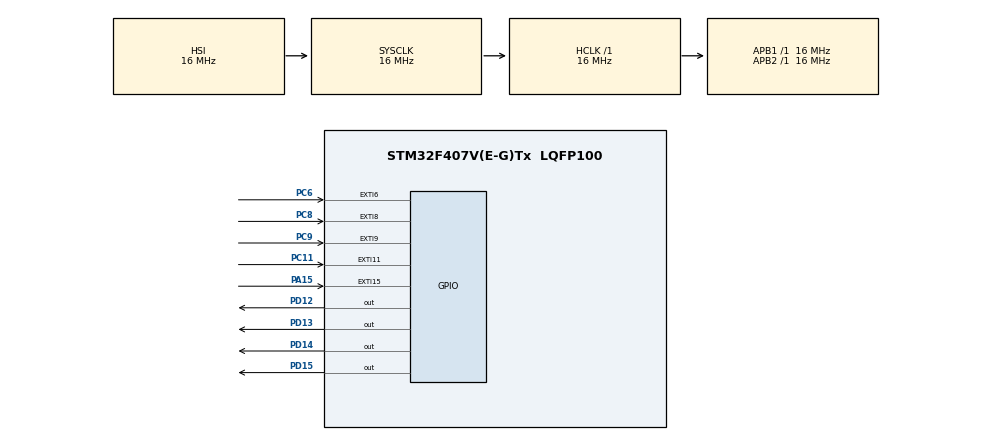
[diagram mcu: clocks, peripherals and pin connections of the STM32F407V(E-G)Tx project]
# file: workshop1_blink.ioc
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Mcu.Family=STM32F4
Mcu.Name=STM32F407V(E-G)Tx
Mcu.Package=LQFP100
NVIC.EXTI15_10_IRQn=true\:0\:0\:false\:false\:true\:true\:true\:true
NVIC.EXTI9_5_IRQn=true\:0\:0\:false\:false\:true\:true\:true\:true
NVIC.PriorityGroup=NVIC_PRIORITYGROUP_4
PA15.GPIO_ModeDefaultEXTI=GPIO_MODE_IT_FALLING
PA15.Signal=GPXTI15
PC11.Signal=GPXTI11
PC6.GPIO_ModeDefaultEXTI=GPIO_MODE_IT_FALLING
PC6.Signal=GPXTI6
PC8.GPIO_ModeDefaultEXTI=GPIO_MODE_IT_FALLING
PC8.Signal=GPXTI8
PC9.Signal=GPXTI9
PD12.Signal=GPIO_Output
PD13.Signal=GPIO_Output
PD14.Signal=GPIO_Output
PD15.Signal=GPIO_Output
ProjectManager.HeapSize=0x200
ProjectManager.StackSize=0x400
ProjectManager.TargetToolchain=STM32CubeIDE
RCC.AHBFreq_Value=16000000
RCC.APB1Freq_Value=16000000
RCC.APB2Freq_Value=16000000
RCC.CortexFreq_Value=16000000
RCC.HSE_VALUE=25000000
RCC.HSI_VALUE=16000000
RCC.LSE_VALUE=32768
RCC.SYSCLKFreq_VALUE=16000000
RCC.VCOOutputFreq_Value=192000000
board=custom

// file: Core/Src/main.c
/* USER CODE BEGIN Header */
/**
  ******************************************************************************
  * @file           : main.c
  * @brief          : Main program body
  ******************************************************************************
  * @attention
  *
  * Copyright (c) 2023 STMicroelectronics.
  * All rights reserved.
  *
  * This software is licensed under terms that can be found in the LICENSE file
  * in the root directory of this software component.
  * If no LICENSE file comes with this software, it is provided AS-IS.
  *
  ******************************************************************************
  */
/* USER CODE END Header */
#include "main.h"

/* USER CODE BEGIN PV */

volatile uint8_t led_reset = IS_NOT_ACTIVE;
volatile uint8_t status = IS_ACTIVE;
volatile int8_t direction = FORWARDS;
volatile uint16_t interval = DEFAULT_INTERVAL;

/* USER CODE END PV */

void SystemClock_Config(void);
static void MX_GPIO_Init(void);

static void SpeedUp(void);
static void SlowDown(void);
static void ChangeDirection(void);
static void Deactivate_Blink(void);
static void ChangeScheme(void);

static void BlinkDefault(void);
static void BlinkSkip(void);
static void BlinkAll(void);

/* USER CODE BEGIN 0 */

static uint8_t counter = 0;
static uint16_t led_pins[4] = {GPIO_PIN_12,GPIO_PIN_13,GPIO_PIN_14,GPIO_PIN_15};
static uint8_t scheme_counter = 0;
static uint8_t skip_counter = 0;
static void (*blink_ptrs[3])(void) = { &BlinkDefault, &BlinkSkip, &BlinkAll };
static void (*exec_ptr)(void) = &BlinkDefault;

/* USER CODE END 0 */

int main(void)
{

  /* MCU Configuration--------------------------------------------------------*/

  /* Reset of all peripherals, Initializes the Flash interface and the Systick. */
  HAL_Init();

  /* Configure the system clock */
  SystemClock_Config();

  /* Initialize all configured peripherals */
  MX_GPIO_Init();

  /* Infinite loop */
  /* USER CODE BEGIN WHILE */
  while (1)
  {
	if(status)
	{
		(*exec_ptr)();
	}
	if(led_reset)
	{
		counter = 0;

		for(int i = 0; i < 4; i++)
		{
			HAL_GPIO_WritePin(GPIOD, led_pins[i], GPIO_PIN_RESET);
		}

		led_reset = IS_NOT_ACTIVE;
	}

    /* USER CODE END WHILE */

  }
}

void SystemClock_Config(void)
{
  RCC_OscInitTypeDef RCC_OscInitStruct = {0};
  RCC_ClkInitTypeDef RCC_ClkInitStruct = {0};

  /** Configure the main internal regulator output voltage
  */
  __HAL_RCC_PWR_CLK_ENABLE();
  __HAL_PWR_VOLTAGESCALING_CONFIG(PWR_REGULATOR_VOLTAGE_SCALE1);

  /** Initializes the RCC Oscillators according to the specified parameters
  * in the RCC_OscInitTypeDef structure.
  */
  RCC_OscInitStruct.OscillatorType = RCC_OSCILLATORTYPE_HSI;
  RCC_OscInitStruct.HSIState = RCC_HSI_ON;
  RCC_OscInitStruct.HSICalibrationValue = RCC_HSICALIBRATION_DEFAULT;
  RCC_OscInitStruct.PLL.PLLState = RCC_PLL_NONE;
  if (HAL_RCC_OscConfig(&RCC_OscInitStruct) != HAL_OK)
  {
    Error_Handler();
  }

  /** Initializes the CPU, AHB and APB buses clocks
  */
  RCC_ClkInitStruct.ClockType = RCC_CLOCKTYPE_HCLK|RCC_CLOCKTYPE_SYSCLK
                              |RCC_CLOCKTYPE_PCLK1|RCC_CLOCKTYPE_PCLK2;
  RCC_ClkInitStruct.SYSCLKSource = RCC_SYSCLKSOURCE_HSI;
  RCC_ClkInitStruct.AHBCLKDivider = RCC_SYSCLK_DIV1;
  RCC_ClkInitStruct.APB1CLKDivider = RCC_HCLK_DIV1;
  RCC_ClkInitStruct.APB2CLKDivider = RCC_HCLK_DIV1;

  if (HAL_RCC_ClockConfig(&RCC_ClkInitStruct, FLASH_LATENCY_0) != HAL_OK)
  {
    Error_Handler();
  }
}

static void MX_GPIO_Init(void)
{
  GPIO_InitTypeDef GPIO_InitStruct = {0};

  /* GPIO Ports Clock Enable */
  __HAL_RCC_GPIOD_CLK_ENABLE();
  __HAL_RCC_GPIOC_CLK_ENABLE();
  __HAL_RCC_GPIOA_CLK_ENABLE();

  /*Configure GPIO pin Output Level */
  HAL_GPIO_WritePin(GPIOD, GPIO_PIN_12|GPIO_PIN_13|GPIO_PIN_14|GPIO_PIN_15, GPIO_PIN_RESET);

  /*Configure GPIO pins : PD12 PD13 PD14 PD15 */
  GPIO_InitStruct.Pin = GPIO_PIN_12|GPIO_PIN_13|GPIO_PIN_14|GPIO_PIN_15;
  GPIO_InitStruct.Mode = GPIO_MODE_OUTPUT_PP;
  GPIO_InitStruct.Pull = GPIO_NOPULL;
  GPIO_InitStruct.Speed = GPIO_SPEED_FREQ_LOW;
  HAL_GPIO_Init(GPIOD, &GPIO_InitStruct);

  /*Configure GPIO pins : PC6 PC8 */
  GPIO_InitStruct.Pin = GPIO_PIN_6|GPIO_PIN_8;
  GPIO_InitStruct.Mode = GPIO_MODE_IT_FALLING;
  GPIO_InitStruct.Pull = GPIO_NOPULL;
  HAL_GPIO_Init(GPIOC, &GPIO_InitStruct);

  /*Configure GPIO pins : PC9 PC11 */
  GPIO_InitStruct.Pin = GPIO_PIN_9|GPIO_PIN_11;
  GPIO_InitStruct.Mode = GPIO_MODE_IT_RISING;
  GPIO_InitStruct.Pull = GPIO_NOPULL;
  HAL_GPIO_Init(GPIOC, &GPIO_InitStruct);

  /*Configure GPIO pin : PA15 */
  GPIO_InitStruct.Pin = GPIO_PIN_15;
  GPIO_InitStruct.Mode = GPIO_MODE_IT_FALLING;
  GPIO_InitStruct.Pull = GPIO_NOPULL;
  HAL_GPIO_Init(GPIOA, &GPIO_InitStruct);

  /* EXTI interrupt init*/
  HAL_NVIC_SetPriority(EXTI9_5_IRQn, 0, 0);
  HAL_NVIC_EnableIRQ(EXTI9_5_IRQn);

  HAL_NVIC_SetPriority(EXTI15_10_IRQn, 0, 0);
  HAL_NVIC_EnableIRQ(EXTI15_10_IRQn);

}

/* USER CODE BEGIN 4 */

/**
  * @brief  EXTI line detection callbacks.
  * @param  GPIO_Pin Specifies the pins connected EXTI line
  * @retval None
  */
void HAL_GPIO_EXTI_Callback(uint16_t GPIO_Pin)
{
	switch(GPIO_Pin)
	{
		case SPEEDUP_PIN:
			SpeedUp();
			break;
		case SLOWDOWN_PIN:
			SlowDown();
			break;
		case DIR_PIN:
			ChangeDirection();
			break;
		case SCHEME_PIN:
			ChangeScheme();
			break;
		case DEACTIVATE_BLINK_PIN:
			Deactivate_Blink();
			break;
	}
}

static void SpeedUp(void)
{
	if(interval > MIN_INTERVAL)
	{
		interval -= 100;
	}
}
static void SlowDown(void)
{
	if(interval < MAX_INTERVAL)
	{
		interval += 100;
	}
}
static void ChangeDirection(void)
{
	direction *= -1;
}
static void ChangeScheme(void)
{
	led_reset = IS_ACTIVE;

	scheme_counter = ++scheme_counter % 3;

	exec_ptr = blink_ptrs[scheme_counter];
}
static void Deactivate_Blink(void)
{
	if(status)
	{
		status = IS_NOT_ACTIVE;
		led_reset = IS_ACTIVE;
	}
	else
	{
		status = 1;
	}
}

static void BlinkDefault(void)
{
	HAL_GPIO_TogglePin(GPIOD, led_pins[counter % 4]);
	HAL_Delay(interval);
	HAL_GPIO_TogglePin(GPIOD, led_pins[counter % 4]);

	counter += direction;
}
static void BlinkSkip(void)
{
	for(uint8_t i = 0; i < 2; i++)
	{
		HAL_GPIO_TogglePin(GPIOD, led_pins[counter % 4 + skip_counter % 2]);
		HAL_Delay(interval);
		HAL_GPIO_TogglePin(GPIOD, led_pins[counter % 4 + skip_counter % 2]);

		counter += 2 * direction;
	}

	skip_counter++;
}
static void BlinkAll(void)
{
	for(uint8_t i = 0; i < 4; i++)
	{
		HAL_GPIO_TogglePin(GPIOD, led_pins[i]);
	}

	HAL_Delay(interval);
}

/* USER CODE END 4 */

void Error_Handler(void)
{
  __disable_irq();
  while (1)
  {
  }
}
